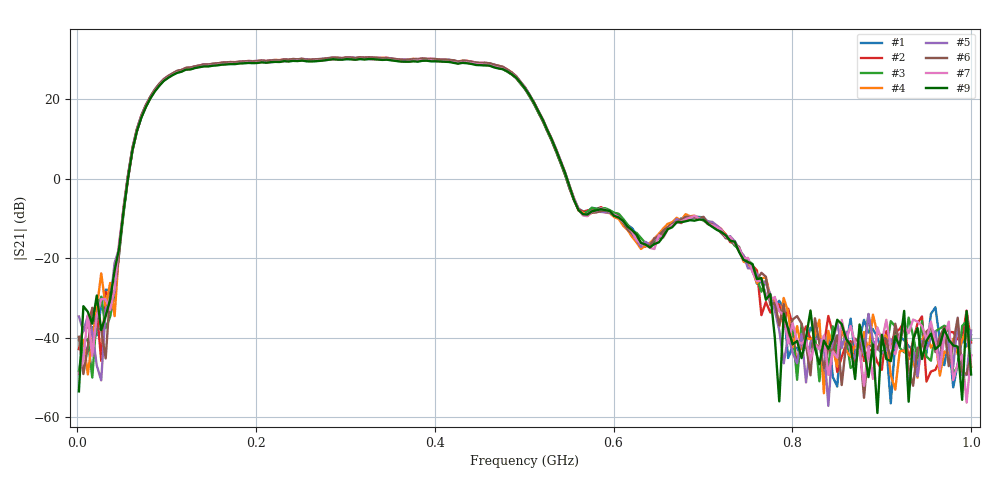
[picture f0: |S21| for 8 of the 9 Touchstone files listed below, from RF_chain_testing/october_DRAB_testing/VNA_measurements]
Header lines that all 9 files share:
!Keysight Technologies N9923A: A.12.45
!Timezone: (UTC+08:00) Kuala Lumpur, Singapore
!Model: N9923A
!Serial: MY61181427
!GPS Latitude:
!GPS Longitude:
!GPS TimeStamp: 0001-01-01 00:00:00Z
!GPS Seconds Since Last Read: 0
!Correction: S11(ON U?)S21(ON U?)S12(ON U?)S22(ON U?)
!S2P File: Measurements:S11,S21,S12,S22:
# Hz S DB R 50
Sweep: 2 MHz to 1 GHz
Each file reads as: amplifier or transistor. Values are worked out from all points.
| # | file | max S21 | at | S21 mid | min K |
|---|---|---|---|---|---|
| 1 | Ch1_noshield.s2p | 30.5 dB | 326.4 MHz | 22.8 dB at 501 MHz | -95.41 |
| 2 | Ch1_shield.s2p | 30.4 dB | 326.4 MHz | 22.6 dB at 501 MHz | 1.34 |
| 3 | Ch1_shield_both.s2p | 30.4 dB | 316.4 MHz | 22.6 dB at 501 MHz | -233.11 |
| 4 | Ch2_noshield.s2p | 30.6 dB | 286.4 MHz | 23.0 dB at 501 MHz | -130.29 |
| 5 | Ch2_shield.s2p | 30.6 dB | 326.4 MHz | 23.1 dB at 501 MHz | 1.29 |
| 6 | Ch2_shield_both.s2p | 30.6 dB | 326.4 MHz | 23.0 dB at 501 MHz | -121.90 |
| 7 | Ch3_noshield.s2p | 30.2 dB | 316.4 MHz | 22.9 dB at 501 MHz | -1917.09 |
| 8 | Ch3_shield.s2p | 30.1 dB | 316.4 MHz | 22.8 dB at 501 MHz | -68.66 |
| 9 | Ch3_shield_both.s2p | 30.1 dB | 326.4 MHz | 22.8 dB at 501 MHz | -136.48 |
